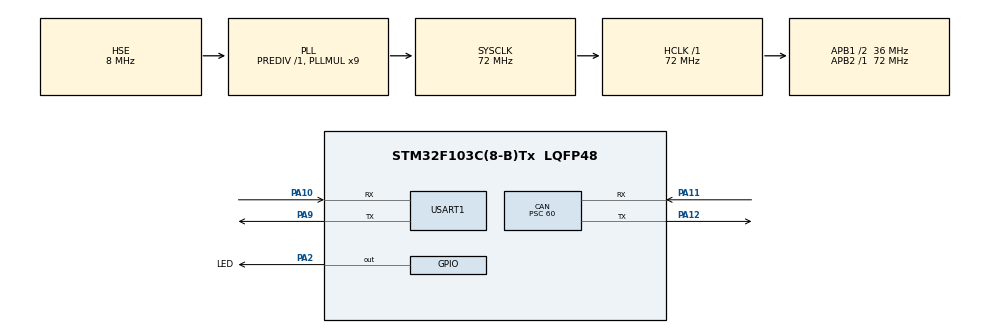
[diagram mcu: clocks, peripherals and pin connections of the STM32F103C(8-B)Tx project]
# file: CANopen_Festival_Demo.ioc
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CAN.BS1=CAN_BS1_3TQ
CAN.BS2=CAN_BS2_2TQ
CAN.CalculateBaudRate=100000
CAN.CalculateTimeBit=10000
CAN.CalculateTimeQuantum=1666.6666666666667
CAN.Prescaler=60
CAN.SJW=CAN_SJW_2TQ
FREERTOS.HEAP_NUMBER=4
FREERTOS.MEMORY_ALLOCATION=2
FREERTOS.Queues01=xCANRcvQueue,10,CanRxMsg,0,Dynamic,NULL,NULL;xCANSenQueue,10,CanTxMsg,0,Dynamic,NULL,NULL
FREERTOS.Tasks01=CanSen_Task,24,128,Task_CanSen,Default,NULL,Dynamic,NULL,NULL;CanRev_Task,24,128,Task_CanRev,Default,NULL,Dynamic,NULL,NULL;CANOpen_Task,24,128,Task_CANOpen,Default,NULL,Dynamic,NULL,NULL;DpUART_Task,24,128,Task_DpUART,Default,NULL,Dynamic,NULL,NULL
FREERTOS.configMINIMAL_STACK_SIZE=64
FREERTOS.configTOTAL_HEAP_SIZE=4096
FREERTOS.configUSE_NEWLIB_REENTRANT=0
Mcu.Family=STM32F1
Mcu.Name=STM32F103C(8-B)Tx
Mcu.Package=LQFP48
NVIC.PriorityGroup=NVIC_PRIORITYGROUP_4
NVIC.TIM1_UP_IRQn=true\:15\:0\:true\:false\:true\:false\:false\:true\:true
NVIC.TIM3_IRQn=true\:5\:0\:true\:false\:true\:true\:true\:true\:true
NVIC.TimeBase=TIM1_UP_IRQn
NVIC.TimeBaseIP=TIM1
NVIC.USB_LP_CAN1_RX0_IRQn=true\:5\:0\:true\:false\:true\:true\:true\:true\:true
PA10.Mode=Asynchronous
PA10.Signal=USART1_RX
PA11.Mode=CAN_Activate
PA11.Signal=CAN_RX
PA12.Mode=CAN_Activate
PA12.Signal=CAN_TX
PA13.Mode=Serial_Wire
PA13.Signal=SYS_JTMS-SWDIO
PA14.Mode=Serial_Wire
PA14.Signal=SYS_JTCK-SWCLK
PA2.GPIO_Label=LED
PA2.GPIO_PuPd=GPIO_PULLDOWN
PA2.Signal=GPIO_Output
PA9.Mode=Asynchronous
PA9.Signal=USART1_TX
PD0-OSC_IN.Mode=HSE-External-Oscillator
PD0-OSC_IN.Signal=RCC_OSC_IN
PD1-OSC_OUT.Mode=HSE-External-Oscillator
PD1-OSC_OUT.Signal=RCC_OSC_OUT
ProjectManager.HeapSize=0x200
ProjectManager.StackSize=0x400
ProjectManager.TargetToolchain=MDK-ARM V5.32
RCC.AHBFreq_Value=72000000
RCC.APB1CLKDivider=RCC_HCLK_DIV2
RCC.APB1Freq_Value=36000000
RCC.APB1TimFreq_Value=72000000
RCC.APB2Freq_Value=72000000
RCC.APB2TimFreq_Value=72000000
RCC.HCLKFreq_Value=72000000
RCC.PLLMUL=RCC_PLL_MUL9
RCC.PLLSourceVirtual=RCC_PLLSOURCE_HSE
RCC.SYSCLKFreq_VALUE=72000000
RCC.SYSCLKSource=RCC_SYSCLKSOURCE_PLLCLK
RCC.USBFreq_Value=72000000
TIM3.AutoReloadPreload=TIM_AUTORELOAD_PRELOAD_ENABLE
TIM3.Prescaler=720-1
USART1.VirtualMode=VM_ASYNC
VP_FREERTOS_VS_CMSIS_V2.Mode=CMSIS_V2
VP_SYS_VS_tim1.Mode=TIM1
VP_TIM3_VS_ClockSourceINT.Mode=Internal
board=custom

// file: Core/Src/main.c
/* USER CODE BEGIN Header */
/**
  ******************************************************************************
  * @file           : main.c
  * @brief          : Main program body
  ******************************************************************************
  * @attention
  *
  * Copyright (c) 2023 STMicroelectronics.
  * All rights reserved.
  *
  * This software is licensed under terms that can be found in the LICENSE file
  * in the root directory of this software component.
  * If no LICENSE file comes with this software, it is provided AS-IS.
  *
  ******************************************************************************
  */
/* USER CODE END Header */
#include "main.h"
#include "cmsis_os.h"
#include "can.h"
#include "tim.h"
#include "usart.h"
#include "gpio.h"

void SystemClock_Config(void);
void MX_FREERTOS_Init(void);

int main(void)
{

  /* MCU Configuration--------------------------------------------------------*/

  /* Reset of all peripherals, Initializes the Flash interface and the Systick. */
  HAL_Init();

  /* Configure the system clock */
  SystemClock_Config();

  /* Initialize all configured peripherals */
  MX_GPIO_Init();
  MX_CAN_Init();
  MX_USART1_UART_Init();
  MX_TIM3_Init();

  /* Init scheduler */
  osKernelInitialize();  /* Call init function for freertos objects (in freertos.c) */
  MX_FREERTOS_Init();

  /* Start scheduler */
  osKernelStart();
  /* We should never get here as control is now taken by the scheduler */
  /* Infinite loop */
  while (1)
  {

  }
}

void SystemClock_Config(void)
{
  RCC_OscInitTypeDef RCC_OscInitStruct = {0};
  RCC_ClkInitTypeDef RCC_ClkInitStruct = {0};

  /** Initializes the RCC Oscillators according to the specified parameters
  * in the RCC_OscInitTypeDef structure.
  */
  RCC_OscInitStruct.OscillatorType = RCC_OSCILLATORTYPE_HSE;
  RCC_OscInitStruct.HSEState = RCC_HSE_ON;
  RCC_OscInitStruct.HSEPredivValue = RCC_HSE_PREDIV_DIV1;
  RCC_OscInitStruct.HSIState = RCC_HSI_ON;
  RCC_OscInitStruct.PLL.PLLState = RCC_PLL_ON;
  RCC_OscInitStruct.PLL.PLLSource = RCC_PLLSOURCE_HSE;
  RCC_OscInitStruct.PLL.PLLMUL = RCC_PLL_MUL9;
  if (HAL_RCC_OscConfig(&RCC_OscInitStruct) != HAL_OK)
  {
    Error_Handler();
  }

  /** Initializes the CPU, AHB and APB buses clocks
  */
  RCC_ClkInitStruct.ClockType = RCC_CLOCKTYPE_HCLK|RCC_CLOCKTYPE_SYSCLK
                              |RCC_CLOCKTYPE_PCLK1|RCC_CLOCKTYPE_PCLK2;
  RCC_ClkInitStruct.SYSCLKSource = RCC_SYSCLKSOURCE_PLLCLK;
  RCC_ClkInitStruct.AHBCLKDivider = RCC_SYSCLK_DIV1;
  RCC_ClkInitStruct.APB1CLKDivider = RCC_HCLK_DIV2;
  RCC_ClkInitStruct.APB2CLKDivider = RCC_HCLK_DIV1;

  if (HAL_RCC_ClockConfig(&RCC_ClkInitStruct, FLASH_LATENCY_2) != HAL_OK)
  {
    Error_Handler();
  }
}

void HAL_TIM_PeriodElapsedCallback(TIM_HandleTypeDef *htim)
{
  if (htim->Instance == TIM1) {
    HAL_IncTick();
  }
  /* USER CODE BEGIN Callback 1 */
	if (htim->Instance == TIM3) {
		TIMx_DispatchFromISR();
	}
  /* USER CODE END Callback 1 */
}

void Error_Handler(void)
{
  __disable_irq();
  while (1)
  {
  }
}

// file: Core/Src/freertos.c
/* USER CODE BEGIN Header */
/**
  ******************************************************************************
  * File Name          : freertos.c
  * Description        : Code for freertos applications
  ******************************************************************************
  * @attention
  *
  * Copyright (c) 2023 STMicroelectronics.
  * All rights reserved.
  *
  * This software is licensed under terms that can be found in the LICENSE file
  * in the root directory of this software component.
  * If no LICENSE file comes with this software, it is provided AS-IS.
  *
  ******************************************************************************
  */
/* USER CODE END Header */

#include "FreeRTOS.h"
#include "task.h"
#include "main.h"
#include "cmsis_os.h"

/* USER CODE BEGIN Includes */
#include "queue.h"
/* USER CODE END Includes */

/* USER CODE BEGIN PM */

int fputc(int ch, FILE *f)
{
	while((USART1->SR & 0x40) == 0);
		USART1->DR = (uint8_t) ch;
	return ch;
}

/* USER CODE END PM */

/* USER CODE BEGIN Variables */

static TIMEVAL last_counter_val = 0;
static TIMEVAL elapsed_time = 0;

/* USER CODE END Variables */
/* Definitions for CanSen_Task */
osThreadId_t CanSen_TaskHandle;
const osThreadAttr_t CanSen_Task_attributes = {
  .name = "CanSen_Task",
  .stack_size = 128 * 4,
  .priority = (osPriority_t) osPriorityNormal,
};
/* Definitions for CanRev_Task */
osThreadId_t CanRev_TaskHandle;
const osThreadAttr_t CanRev_Task_attributes = {
  .name = "CanRev_Task",
  .stack_size = 128 * 4,
  .priority = (osPriority_t) osPriorityNormal,
};
/* Definitions for CANOpen_Task */
osThreadId_t CANOpen_TaskHandle;
const osThreadAttr_t CANOpen_Task_attributes = {
  .name = "CANOpen_Task",
  .stack_size = 128 * 4,
  .priority = (osPriority_t) osPriorityNormal,
};
/* Definitions for DpUART_Task */
osThreadId_t DpUART_TaskHandle;
const osThreadAttr_t DpUART_Task_attributes = {
  .name = "DpUART_Task",
  .stack_size = 128 * 4,
  .priority = (osPriority_t) osPriorityNormal,
};
/* Definitions for xCANRcvQueue */
osMessageQueueId_t xCANRcvQueueHandle;
const osMessageQueueAttr_t xCANRcvQueue_attributes = {
  .name = "xCANRcvQueue"
};
/* Definitions for xCANSenQueue */
osMessageQueueId_t xCANSenQueueHandle;
const osMessageQueueAttr_t xCANSenQueue_attributes = {
  .name = "xCANSenQueue"
};

void Task_CanSen(void *argument);
void Task_CanRev(void *argument);
void Task_CANOpen(void *argument);
void Task_DpUART(void *argument);

void MX_FREERTOS_Init(void); /* (MISRA C 2004 rule 8.1) */

void MX_FREERTOS_Init(void) {

  /* Create the queue(s) */
  /* creation of xCANRcvQueue */
  xCANRcvQueueHandle = osMessageQueueNew (10, sizeof(CanRxMsg), &xCANRcvQueue_attributes);

  /* creation of xCANSenQueue */
  xCANSenQueueHandle = osMessageQueueNew (10, sizeof(CanTxMsg), &xCANSenQueue_attributes);

  /* Create the thread(s) */
  /* creation of CanSen_Task */
  CanSen_TaskHandle = osThreadNew(Task_CanSen, NULL, &CanSen_Task_attributes);

  /* creation of CanRev_Task */
  CanRev_TaskHandle = osThreadNew(Task_CanRev, NULL, &CanRev_Task_attributes);

  /* creation of CANOpen_Task */
  CANOpen_TaskHandle = osThreadNew(Task_CANOpen, NULL, &CANOpen_Task_attributes);

  /* creation of DpUART_Task */
  DpUART_TaskHandle = osThreadNew(Task_DpUART, NULL, &DpUART_Task_attributes);

}

void Task_CanSen(void *argument)
{
  /* USER CODE BEGIN Task_CanSen */

	static CanTxMsg TxMsg;
	static uint32_t TxMailbox = CAN_TX_MAILBOX0;

  /* Infinite loop */
  for(;;)
  {
    osDelay(1);
		if (xQueueReceive(xCANSenQueueHandle, &TxMsg, 100) == pdTRUE) {
			HAL_CAN_AddTxMessage(&CANx, &TxMsg.header, TxMsg.Data, &TxMailbox);
			while (HAL_CAN_GetTxMailboxesFreeLevel(&CANx) != 3);
		}
  }
  /* USER CODE END Task_CanSen */
}

void Task_CanRev(void *argument)
{
  /* USER CODE BEGIN Task_CanRev */

	static CanRxMsg RxMsg;
	static Message msg;

  /* Infinite loop */
  for(;;)
  {
    osDelay(1);
		if (xQueueReceive(xCANRcvQueueHandle, &RxMsg, 100) == pdTRUE) {
			msg.cob_id = RxMsg.header.StdId;

			if(CAN_RTR_REMOTE == RxMsg.header.RTR) {
				msg.rtr = 1;
			}
			else {
				msg.rtr = 0;
			}
			msg.len = (UNS8)RxMsg.header.DLC;
			memcpy(msg.data, RxMsg.Data, 8);
			canDispatch(&CANOPENNODE, &msg);
		}
  }
  /* USER CODE END Task_CanRev */
}

void Task_CANOpen(void *argument)
{
  /* USER CODE BEGIN Task_CANOpen */

	HAL_TIM_Base_Start_IT(&CANOPEN_TIMx);

	setNodeId(&CANOPENNODE, CANOPENNODE_ID);
	setState(&CANOPENNODE, Initialisation);
	setState(&CANOPENNODE, Operational);

	osDelay(2000);

	for (int i = 1; i <= 30; i++) {
		masterSendNMTstateChange(&CANOPENNODE, i, NMT_Stop_Node);
		osDelay(2);
	}

	for (int i = 1; i <= 30; i++) {
		masterSendNMTstateChange(&CANOPENNODE, i, NMT_Start_Node);
		osDelay(3);
	}

//	sendPDOrequest(&CANOPENNODE, 0x1401);

  /* Infinite loop */
  for(;;)
  {
		osDelay(1000);
		HAL_GPIO_TogglePin(LED_GPIO_Port, LED_Pin);
  }
  /* USER CODE END Task_CANOpen */
}

void Task_DpUART(void *argument)
{
  /* USER CODE BEGIN Task_DpUART */
//	uint8_t *node_inf_str;
//	uint8_t *node_data_str;
  /* Infinite loop */
  for(;;)
  {
    osDelay(1000);
		for (uint8_t i = 0; i < 20; i++) {
			osDelay(200);
			printf("Node %d: T is %lf,\t R is %lf\r\n", i,Temperature[i], Humidity[i]);
		}
  }
  /* USER CODE END Task_DpUART */
}

/* USER CODE BEGIN Application */
unsigned char canSend(CAN_PORT notused, Message *m)
{
  static CanTxMsg TxMsg;
  portBASE_TYPE xHigherPriorityTaskWoken = pdFALSE;

  TxMsg.header.StdId = m->cob_id;

  if(m->rtr)
      TxMsg.header.RTR = CAN_RTR_REMOTE;
  else
      TxMsg.header.RTR = CAN_RTR_DATA;

  TxMsg.header.IDE = CAN_ID_STD;
  TxMsg.header.DLC = m->len;

  memcpy(TxMsg.Data, m->data, 8);

  if(0 == __get_CONTROL())
  {
    if(xQueueSendFromISR(xCANSenQueueHandle, &TxMsg, &xHigherPriorityTaskWoken) != pdPASS)
    {
      return 0xFF;
    }
    portEND_SWITCHING_ISR(xHigherPriorityTaskWoken);
  }
  else
  {
    if(xQueueSend(xCANSenQueueHandle, &TxMsg, 100) != pdPASS)
    {
      return 0xFF;
    }
  }
  return 0;
}

void setTimer(TIMEVAL value)
{
	__HAL_TIM_SetAutoreload(&CANOPEN_TIMx, value);
}

TIMEVAL getElapsedTime(void)
{
	uint32_t timer = __HAL_TIM_GET_COUNTER(&CANOPEN_TIMx);

	if(timer < last_counter_val)
	timer += CANOPEN_TIM_PERIOD;

	TIMEVAL elapsed = timer - last_counter_val + elapsed_time;

	return elapsed;
}

void TIMx_DispatchFromISR(void)
{
	last_counter_val = 0;
	elapsed_time = 0;
	TimeDispatch();
}

void HAL_CAN_RxFifo0MsgPendingCallback(CAN_HandleTypeDef *CANx)
{
		static CanRxMsg RxMsg;
	if (HAL_CAN_GetRxMessage(CANx, CAN_RX_FIFO0, &RxMsg.header, RxMsg.Data) != HAL_OK)
	{
		Error_Handler();
	}
	if (HAL_CAN_ActivateNotification(CANx, CAN_IT_RX_FIFO0_MSG_PENDING) != HAL_OK)
	{
	/* Notification Error */
		Error_Handler();
	}

	static portBASE_TYPE xHigherPriorityTaskWoken = pdFALSE;

	if(NULL != xCANRcvQueueHandle)
	{
		xQueueSendFromISR(xCANRcvQueueHandle, &RxMsg, &xHigherPriorityTaskWoken);
		portEND_SWITCHING_ISR(xHigherPriorityTaskWoken);
	}

}

/* USER CODE END Application */
